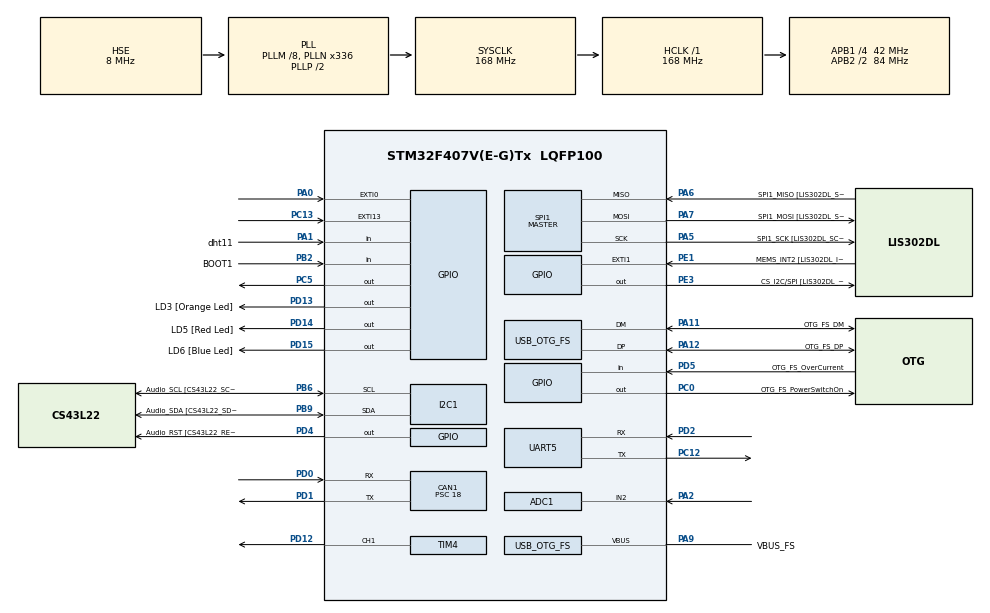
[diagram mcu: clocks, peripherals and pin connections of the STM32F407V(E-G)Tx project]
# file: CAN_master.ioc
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ADC1.Channel-0\#ChannelRegularConversion=ADC_CHANNEL_2
ADC1.NbrOfConversionFlag=1
ADC1.Rank-0\#ChannelRegularConversion=1
ADC1.Resolution=ADC_RESOLUTION_8B
ADC1.SamplingTime-0\#ChannelRegularConversion=ADC_SAMPLETIME_3CYCLES
ADC1.master=1
CAN1.BS1=CAN_BS1_2TQ
CAN1.BS2=CAN_BS2_2TQ
CAN1.CalculateBaudRate=466666
CAN1.CalculateTimeBit=2142
CAN1.CalculateTimeQuantum=428.57142857142856
CAN1.Prescaler=18
Mcu.Family=STM32F4
Mcu.Name=STM32F407V(E-G)Tx
Mcu.Package=LQFP100
NVIC.CAN1_RX0_IRQn=true\:0\:0\:false\:false\:true\:true\:true\:true
NVIC.EXTI0_IRQn=true\:0\:0\:false\:false\:true\:true\:true\:true
NVIC.EXTI15_10_IRQn=true\:0\:0\:false\:false\:true\:true\:true\:true
NVIC.OTG_FS_IRQn=true\:0\:0\:false\:false\:true\:true\:true\:true
NVIC.PriorityGroup=NVIC_PRIORITYGROUP_0
NVIC.TIM4_IRQn=true\:0\:0\:false\:false\:true\:true\:true\:true
NVIC.TIM6_DAC_IRQn=true\:0\:0\:false\:false\:true\:true\:true\:true
PA0-WKUP.Signal=GPXTI0
PA1.GPIO_Label=dht11
PA1.Signal=GPIO_Input
PA10.GPIO_Label=OTG_FS_ID
PA10.GPIO_Mode=GPIO_MODE_AF_PP
PA10.GPIO_PuPd=GPIO_NOPULL
PA10.GPIO_Speed=GPIO_SPEED_FREQ_LOW
PA10.Signal=USB_OTG_FS_ID
PA11.GPIO_Label=OTG_FS_DM
PA11.GPIO_Mode=GPIO_MODE_AF_PP
PA11.GPIO_PuPd=GPIO_NOPULL
PA11.GPIO_Speed=GPIO_SPEED_FREQ_LOW
PA11.Mode=Host_Only
PA11.Signal=USB_OTG_FS_DM
PA12.GPIO_Label=OTG_FS_DP
PA12.GPIO_Mode=GPIO_MODE_AF_PP
PA12.GPIO_PuPd=GPIO_NOPULL
PA12.GPIO_Speed=GPIO_SPEED_FREQ_LOW
PA12.Mode=Host_Only
PA12.Signal=USB_OTG_FS_DP
PA13.GPIO_Label=SWDIO
PA13.Mode=Serial_Wire
PA13.Signal=SYS_JTMS-SWDIO
PA14.GPIO_Label=SWCLK
PA14.Mode=Serial_Wire
PA14.Signal=SYS_JTCK-SWCLK
PA2.Signal=ADCx_IN2
PA4.GPIO_Label=I2S3_WS [CS43L22_LRCK]
PA4.GPIO_Mode=GPIO_MODE_AF_PP
PA4.GPIO_PuPd=GPIO_NOPULL
PA4.GPIO_Speed=GPIO_SPEED_FREQ_LOW
PA4.Signal=I2S3_WS
PA5.GPIO_Label=SPI1_SCK [LIS302DL_SCL/SPC]
PA5.GPIO_Mode=GPIO_MODE_AF_PP
PA5.GPIO_PuPd=GPIO_NOPULL
PA5.GPIO_Speed=GPIO_SPEED_FREQ_LOW
PA5.Mode=Full_Duplex_Master
PA5.Signal=SPI1_SCK
PA6.GPIO_Label=SPI1_MISO [LIS302DL_SDO]
PA6.GPIO_Mode=GPIO_MODE_AF_PP
PA6.GPIO_PuPd=GPIO_NOPULL
PA6.GPIO_Speed=GPIO_SPEED_FREQ_LOW
PA6.Mode=Full_Duplex_Master
PA6.Signal=SPI1_MISO
PA7.GPIO_Label=SPI1_MOSI [LIS302DL_SDA/SDI/SDO]
PA7.GPIO_Mode=GPIO_MODE_AF_PP
PA7.GPIO_PuPd=GPIO_NOPULL
PA7.GPIO_Speed=GPIO_SPEED_FREQ_LOW
PA7.Mode=Full_Duplex_Master
PA7.Signal=SPI1_MOSI
PA9.GPIO_Label=VBUS_FS
PA9.GPIO_Mode=GPIO_MODE_INPUT
PA9.GPIO_PuPd=GPIO_NOPULL
PA9.Mode=Activate_VBUS
PA9.Signal=USB_OTG_FS_VBUS
PB10.GPIO_Label=CLK_IN [MP45DT02_CLK]
PB10.GPIO_Mode=GPIO_MODE_AF_PP
PB10.GPIO_PuPd=GPIO_NOPULL
PB10.GPIO_Speed=GPIO_SPEED_FREQ_LOW
PB10.Signal=I2S2_CK
PB2.GPIO_Label=BOOT1
PB2.GPIO_Mode=GPIO_MODE_INPUT
PB2.GPIO_PuPd=GPIO_NOPULL
PB2.Signal=GPIO_Input
PB3.GPIO_Label=SWO
PB3.Signal=SYS_JTDO-SWO
PB6.GPIO_Label=Audio_SCL [CS43L22_SCL]
PB6.GPIO_Mode=GPIO_MODE_AF_OD
PB6.GPIO_Pu=GPIO_PULLUP
PB6.GPIO_PuPd=GPIO_NOPULL
PB6.GPIO_Speed=GPIO_SPEED_FREQ_LOW
PB6.Mode=I2C
PB6.Signal=I2C1_SCL
PB9.GPIO_Label=Audio_SDA [CS43L22_SDA]
PB9.GPIO_Mode=GPIO_MODE_AF_OD
PB9.GPIO_Pu=GPIO_PULLUP
PB9.GPIO_PuPd=GPIO_NOPULL
PB9.GPIO_Speed=GPIO_SPEED_FREQ_LOW
PB9.Mode=I2C
PB9.Signal=I2C1_SDA
PC0.GPIO_Label=OTG_FS_PowerSwitchOn
PC0.GPIO_PuPd=GPIO_NOPULL
PC0.GPIO_Speed=GPIO_SPEED_FREQ_LOW
PC0.PinState=GPIO_PIN_SET
PC0.Signal=GPIO_Output
PC10.GPIO_Label=I2S3_SCK [CS43L22_SCLK]
PC10.GPIO_Mode=GPIO_MODE_AF_PP
PC10.GPIO_PuPd=GPIO_NOPULL
PC10.GPIO_Speed=GPIO_SPEED_FREQ_LOW
PC10.Signal=I2S3_CK
PC12.Mode=Asynchronous
PC12.Signal=UART5_TX
PC13-ANTI_TAMP.GPIO_ModeDefaultEXTI=GPIO_MODE_IT_RISING
PC13-ANTI_TAMP.Signal=GPXTI13
PC14-OSC32_IN.GPIO_Label=PC14-OSC32_IN
PC14-OSC32_IN.Mode=LSE-External-Oscillator
PC14-OSC32_IN.Signal=RCC_OSC32_IN
PC15-OSC32_OUT.GPIO_Label=PC15-OSC32_OUT
PC15-OSC32_OUT.Mode=LSE-External-Oscillator
PC15-OSC32_OUT.Signal=RCC_OSC32_OUT
PC3.GPIO_Label=PDM_OUT [MP45DT02_DOUT]
PC3.GPIO_Mode=GPIO_MODE_AF_PP
PC3.GPIO_PuPd=GPIO_NOPULL
PC3.GPIO_Speed=GPIO_SPEED_FREQ_LOW
PC3.Signal=I2S2_SD
PC5.PinState=GPIO_PIN_RESET
PC5.Signal=GPIO_Output
PC7.GPIO_Label=I2S3_MCK [CS43L22_MCLK]
PC7.GPIO_Mode=GPIO_MODE_AF_PP
PC7.GPIO_PuPd=GPIO_NOPULL
PC7.GPIO_Speed=GPIO_SPEED_FREQ_LOW
PC7.Signal=I2S3_MCK
PD0.GPIO_PuPd=GPIO_PULLUP
PD0.Mode=CAN_Activate
PD0.Signal=CAN1_RX
PD1.Mode=CAN_Activate
PD1.Signal=CAN1_TX
PD12.Signal=S_TIM4_CH1
PD13.GPIO_Label=LD3 [Orange Led]
PD13.GPIO_PuPd=GPIO_NOPULL
PD13.GPIO_Speed=GPIO_SPEED_FREQ_LOW
PD13.Signal=GPIO_Output
PD14.GPIO_Label=LD5 [Red Led]
PD14.GPIO_PuPd=GPIO_NOPULL
PD14.GPIO_Speed=GPIO_SPEED_FREQ_LOW
PD14.Signal=GPIO_Output
PD15.GPIO_Label=LD6 [Blue Led]
PD15.GPIO_PuPd=GPIO_NOPULL
PD15.GPIO_Speed=GPIO_SPEED_FREQ_LOW
PD15.Signal=GPIO_Output
PD2.Mode=Asynchronous
PD2.Signal=UART5_RX
PD4.GPIO_Label=Audio_RST [CS43L22_RESET]
PD4.GPIO_PuPd=GPIO_NOPULL
PD4.GPIO_Speed=GPIO_SPEED_FREQ_LOW
PD4.Signal=GPIO_Output
PD5.GPIO_Label=OTG_FS_OverCurrent
PD5.GPIO_Mode=GPIO_MODE_INPUT
PD5.GPIO_PuPd=GPIO_NOPULL
PD5.Signal=GPIO_Input
PE1.GPIO_Label=MEMS_INT2 [LIS302DL_INT2]
PE1.GPIO_ModeDefaultEXTI=GPIO_MODE_EVT_RISING
PE1.GPIO_PuPd=GPIO_NOPULL
PE1.Signal=GPXTI1
PE3.GPIO_Label=CS_I2C/SPI [LIS302DL_CS_I2C/SPI]
PE3.GPIO_PuPd=GPIO_NOPULL
PE3.GPIO_Speed=GPIO_SPEED_FREQ_LOW
PE3.Signal=GPIO_Output
PH0-OSC_IN.GPIO_Label=PH0-OSC_IN
PH0-OSC_IN.Mode=HSE-External-Oscillator
PH0-OSC_IN.Signal=RCC_OSC_IN
PH1-OSC_OUT.GPIO_Label=PH1-OSC_OUT
PH1-OSC_OUT.Mode=HSE-External-Oscillator
PH1-OSC_OUT.Signal=RCC_OSC_OUT
ProjectManager.HeapSize=0x200
ProjectManager.StackSize=0x400
ProjectManager.TargetToolchain=STM32CubeIDE
RCC.48MHZClocksFreq_Value=48000000
RCC.AHBFreq_Value=168000000
RCC.APB1CLKDivider=RCC_HCLK_DIV4
RCC.APB1Freq_Value=42000000
RCC.APB1TimFreq_Value=84000000
RCC.APB2CLKDivider=RCC_HCLK_DIV2
RCC.APB2Freq_Value=84000000
RCC.APB2TimFreq_Value=168000000
RCC.CortexFreq_Value=168000000
RCC.HCLKFreq_Value=168000000
RCC.HSE_VALUE=8000000
RCC.HSI_VALUE=16000000
RCC.PLLM=8
RCC.PLLN=336
RCC.PLLQ=7
RCC.SYSCLKFreq_VALUE=168000000
RCC.SYSCLKSource=RCC_SYSCLKSOURCE_PLLCLK
RCC.VCOOutputFreq_Value=336000000
SH.ADCx_IN2.0=ADC1_IN2,IN2
SH.S_TIM4_CH1.0=TIM4_CH1,PWM Generation1 CH1
SPI1.BaudRatePrescaler-Full_Duplex_Master=SPI_BAUDRATEPRESCALER_2
SPI1.CalculateBaudRate-Full_Duplex_Master=42.0 MBits/s
SPI1.Direction=SPI_DIRECTION_2LINES
SPI1.Mode=SPI_MODE_MASTER
SPI1.Mode-Full_Duplex_Master=SPI_MODE_MASTER
SPI1.VirtualType=VM_MASTER
TIM4.Channel-PWM\ Generation1\ CH1=TIM_CHANNEL_1
TIM4.Period=255
TIM4.Prescaler=328
TIM6.Period=20000
TIM6.Prescaler=8400
UART5.VirtualMode=Asynchronous
USB_HOST.BSP.number=1
USB_HOST.USBH_HandleTypeDef-CDC_FS=hUsbHostFS
USB_HOST.VirtualModeFS=Cdc
USB_HOST0.BSP.STBoard=false
USB_HOST0.BSP.api=Unknown
USB_HOST0.BSP.instance=PC0
USB_HOST0.BSP.ip=GPIO
USB_HOST0.BSP.mode=Output
USB_HOST0.BSP.name=Drive_VBUS_FS
USB_HOST0.BSP.solution=PC0
USB_OTG_FS.VirtualMode=Host_Only
USB_OTG_FS.phy_itface=HCD_PHY_EMBEDDED
VP_TIM4_VS_ClockSourceINT.Mode=Internal
VP_TIM6_VS_ClockSourceINT.Mode=Enable_Timer
VP_USB_HOST_VS_USB_HOST_CDC_FS.Mode=CDC_FS
board=STM32F407G-DISC1

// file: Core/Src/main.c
/* USER CODE BEGIN Header */
/**
  ******************************************************************************
  * @file           : main.c
  * @brief          : Main program body
  ******************************************************************************
  * @attention
  *
  * Copyright (c) 2023 STMicroelectronics.
  * All rights reserved.
  *
  * This software is licensed under terms that can be found in the LICENSE file
  * in the root directory of this software component.
  * If no LICENSE file comes with this software, it is provided AS-IS.
  *
  ******************************************************************************
  */
/* USER CODE END Header */
#include "main.h"
#include "usb_host.h"

/* USER CODE BEGIN Includes */
#include <stdio.h>
#include "DHT.h"
/* USER CODE END Includes */

/* USER CODE BEGIN PD */

	DHT_DataTypedef DHT11_Data;
	float Temperature, Humidity;
	float digital_value;

	char temp[30]; // value of temperature
	char humi[30]; // value of humidity
	char adc[30]; // digital

/* USER CODE END PD */

ADC_HandleTypeDef hadc1;

CAN_HandleTypeDef hcan1;

I2C_HandleTypeDef hi2c1;

SPI_HandleTypeDef hspi1;

TIM_HandleTypeDef htim4;
TIM_HandleTypeDef htim6;

UART_HandleTypeDef huart5;

void SystemClock_Config(void);
static void MX_GPIO_Init(void);
static void MX_I2C1_Init(void);
static void MX_SPI1_Init(void);
static void MX_CAN1_Init(void);
static void MX_TIM4_Init(void);
static void MX_TIM6_Init(void);
static void MX_UART5_Init(void);
static void MX_ADC1_Init(void);
void MX_USB_HOST_Process(void);

/* USER CODE BEGIN 0 */
	CAN_TxHeaderTypeDef TxHeader;
	CAN_RxHeaderTypeDef RxHeader;

	uint8_t TxData[8];
	uint8_t RxData[8];

	uint32_t TxMailbox;

	int datacheck = 0;
	void HAL_GPIO_EXTI_Callback(uint16_t GPIO_Pin)
	{
		if (GPIO_Pin == GPIO_PIN_0)
		{
			TxData[0] = 200;   // Delay (ms)
			TxData[1] = 20;    // Numbers of Loop
			TxData[2] = 0;
			TxData[3] = 0;

			HAL_GPIO_TogglePin(GPIOD, GPIO_PIN_12); // Green led

			if(HAL_CAN_AddTxMessage(&hcan1, &TxHeader, TxData, &TxMailbox)!= HAL_OK)// add
			{
				Error_Handler();

			}
		}
	}

	void HAL_CAN_RxFifo0MsgPendingCallback(CAN_HandleTypeDef *hcan) {
		if(HAL_CAN_GetRxMessage(hcan, CAN_RX_FIFO0, &RxHeader, RxData) != HAL_OK)//add
		{
			Error_Handler();
		}

		//if (RxHeader.DLC == 2)
		if (RxHeader.StdId== 0x103)
		{
			datacheck = 1;
		}

	}
/* USER CODE END 0 */

int main(void)
{

  /* MCU Configuration--------------------------------------------------------*/

  /* Reset of all peripherals, Initializes the Flash interface and the Systick. */
  HAL_Init();

  /* Configure the system clock */
  SystemClock_Config();

  /* Initialize all configured peripherals */
  MX_GPIO_Init();
  MX_I2C1_Init();
  MX_SPI1_Init();
  MX_USB_HOST_Init();
  MX_CAN1_Init();
  MX_TIM4_Init();
  MX_TIM6_Init();
  MX_UART5_Init();
  MX_ADC1_Init();
  /* USER CODE BEGIN 2 */

  HAL_CAN_Start(&hcan1);
  HAL_TIM_PWM_Start(&htim4, TIM_CHANNEL_1);
  HAL_TIM_Base_Start_IT(&htim6);

  // Active the notification
  HAL_CAN_ActivateNotification(&hcan1, CAN_IT_RX_FIFO0_MSG_PENDING);

	TxHeader.DLC = 4;  // data length
	TxHeader.IDE = CAN_ID_STD;
	TxHeader.RTR = CAN_RTR_DATA;
	TxHeader.StdId = 0x446;  // Id of framework

  /* USER CODE END 2 */

  /* Infinite loop */
  while (1)
  {
    MX_USB_HOST_Process();

    /* USER CODE BEGIN 3 */

    // ADC
   	  HAL_ADC_Start(&hadc1);
   	  if(HAL_ADC_PollForConversion(&hadc1, 10)==HAL_OK)
   	  {
   		  digital_value = HAL_ADC_GetValue(&hadc1);
   	   	  // Warning if threshold is exceeded
   	   	  if (digital_value>=200)
   	   	  {
   	   		  HAL_GPIO_WritePin(GPIOD, GPIO_PIN_14, 1); // Red led On
   	   	  }
   	   	  else HAL_GPIO_WritePin(GPIOD, GPIO_PIN_14, 0); // Red led off
   	  }
   	  HAL_ADC_Stop(&hadc1);

//		  read DHT11
//   	  DHT_GetData(&DHT11_Data);
//   	  Temperature = DHT11_Data.Temperature;
//   	  Humidity = DHT11_Data.Humidity;

   	  // PWM through timer channel 1
   	  __HAL_TIM_SetCompare(&htim4,TIM_CHANNEL_1,digital_value);

	  	// uint8t to char
	  	sprintf(temp, "Value of Temperature = %.2f\r\n", Temperature);
	  	sprintf(humi, "Value of Humidity = %.2f\r\n", Humidity);
	  	sprintf(adc, "Value of Digital = %.2f\r\n\n", digital_value);

	  	// Send Uart
		HAL_UART_Transmit(&huart5, temp , strlen(temp) , HAL_MAX_DELAY);
		HAL_UART_Transmit(&huart5, humi , strlen(humi) , HAL_MAX_DELAY);
		HAL_UART_Transmit(&huart5, adc , strlen(adc) , HAL_MAX_DELAY);
		HAL_Delay(1000);

    // blink the LED and send data
    if(datacheck)
    {
    	for (int i = 0; i < RxData[1]; i++) {
    		HAL_GPIO_TogglePin(GPIOD, GPIO_PIN_14); // led red
    		HAL_Delay(RxData[0]);
    	}
    	datacheck = 0;

    	TxData[0] = 200;   // Delay (ms)
    	TxData[1] = 20;    // Numbers of Loop
    	TxData[2] = (uint8_t*)(&Temperature); // value of Temperature
    	TxData[3] = (uint8_t*)(&Humidity); // value of Humidity

    	if(HAL_CAN_AddTxMessage(&hcan1, &TxHeader, TxData, &TxMailbox) != HAL_OK){ //add
			Error_Handler();
		}
    }
  }
  /* USER CODE END 3 */
}

void TIM6_DAC_IRQHandler(void)
{
  /* USER CODE BEGIN TIM6_DAC_IRQn 0 */
////
  /* USER CODE END TIM6_DAC_IRQn 0 */
  HAL_TIM_IRQHandler(&htim6);
  /* USER CODE BEGIN TIM6_DAC_IRQn 1 */
	  // Read DHT11
	  DHT_GetData(&DHT11_Data);
	  Temperature = DHT11_Data.Temperature;
	  Humidity = DHT11_Data.Humidity;
  /* USER CODE END TIM6_DAC_IRQn 1 */
}

void SystemClock_Config(void)
{
  RCC_OscInitTypeDef RCC_OscInitStruct = {0};
  RCC_ClkInitTypeDef RCC_ClkInitStruct = {0};

  /** Configure the main internal regulator output voltage
  */
  __HAL_RCC_PWR_CLK_ENABLE();
  __HAL_PWR_VOLTAGESCALING_CONFIG(PWR_REGULATOR_VOLTAGE_SCALE1);

  /** Initializes the RCC Oscillators according to the specified parameters
  * in the RCC_OscInitTypeDef structure.
  */
  RCC_OscInitStruct.OscillatorType = RCC_OSCILLATORTYPE_HSE;
  RCC_OscInitStruct.HSEState = RCC_HSE_ON;
  RCC_OscInitStruct.PLL.PLLState = RCC_PLL_ON;
  RCC_OscInitStruct.PLL.PLLSource = RCC_PLLSOURCE_HSE;
  RCC_OscInitStruct.PLL.PLLM = 8;
  RCC_OscInitStruct.PLL.PLLN = 336;
  RCC_OscInitStruct.PLL.PLLP = RCC_PLLP_DIV2;
  RCC_OscInitStruct.PLL.PLLQ = 7;
  if (HAL_RCC_OscConfig(&RCC_OscInitStruct) != HAL_OK)
  {
    Error_Handler();
  }

  /** Initializes the CPU, AHB and APB buses clocks
  */
  RCC_ClkInitStruct.ClockType = RCC_CLOCKTYPE_HCLK|RCC_CLOCKTYPE_SYSCLK
                              |RCC_CLOCKTYPE_PCLK1|RCC_CLOCKTYPE_PCLK2;
  RCC_ClkInitStruct.SYSCLKSource = RCC_SYSCLKSOURCE_PLLCLK;
  RCC_ClkInitStruct.AHBCLKDivider = RCC_SYSCLK_DIV1;
  RCC_ClkInitStruct.APB1CLKDivider = RCC_HCLK_DIV4;
  RCC_ClkInitStruct.APB2CLKDivider = RCC_HCLK_DIV2;

  if (HAL_RCC_ClockConfig(&RCC_ClkInitStruct, FLASH_LATENCY_5) != HAL_OK)
  {
    Error_Handler();
  }
}

static void MX_ADC1_Init(void)
{

  ADC_ChannelConfTypeDef sConfig = {0};

  /** Configure the global features of the ADC (Clock, Resolution, Data Alignment and number of conversion)
  */
  hadc1.Instance = ADC1;
  hadc1.Init.ClockPrescaler = ADC_CLOCK_SYNC_PCLK_DIV4;
  hadc1.Init.Resolution = ADC_RESOLUTION_8B;
  hadc1.Init.ScanConvMode = DISABLE;
  hadc1.Init.ContinuousConvMode = DISABLE;
  hadc1.Init.DiscontinuousConvMode = DISABLE;
  hadc1.Init.ExternalTrigConvEdge = ADC_EXTERNALTRIGCONVEDGE_NONE;
  hadc1.Init.ExternalTrigConv = ADC_SOFTWARE_START;
  hadc1.Init.DataAlign = ADC_DATAALIGN_RIGHT;
  hadc1.Init.NbrOfConversion = 1;
  hadc1.Init.DMAContinuousRequests = DISABLE;
  hadc1.Init.EOCSelection = ADC_EOC_SINGLE_CONV;
  if (HAL_ADC_Init(&hadc1) != HAL_OK)
  {
    Error_Handler();
  }

  /** Configure for the selected ADC regular channel its corresponding rank in the sequencer and its sample time.
  */
  sConfig.Channel = ADC_CHANNEL_2;
  sConfig.Rank = 1;
  sConfig.SamplingTime = ADC_SAMPLETIME_3CYCLES;
  if (HAL_ADC_ConfigChannel(&hadc1, &sConfig) != HAL_OK)
  {
    Error_Handler();
  }

}

static void MX_CAN1_Init(void)
{

  hcan1.Instance = CAN1;
  hcan1.Init.Prescaler = 18;
  hcan1.Init.Mode = CAN_MODE_NORMAL;
  hcan1.Init.SyncJumpWidth = CAN_SJW_1TQ;
  hcan1.Init.TimeSeg1 = CAN_BS1_2TQ;
  hcan1.Init.TimeSeg2 = CAN_BS2_2TQ;
  hcan1.Init.TimeTriggeredMode = DISABLE;
  hcan1.Init.AutoBusOff = DISABLE;
  hcan1.Init.AutoWakeUp = DISABLE;
  hcan1.Init.AutoRetransmission = DISABLE;
  hcan1.Init.ReceiveFifoLocked = DISABLE;
  hcan1.Init.TransmitFifoPriority = DISABLE;
  if (HAL_CAN_Init(&hcan1) != HAL_OK)
  {
    Error_Handler();
  }
  /* USER CODE BEGIN CAN1_Init 2 */

  CAN_FilterTypeDef canfilterconfig;

  	canfilterconfig.FilterActivation = CAN_FILTER_ENABLE;
  	canfilterconfig.FilterBank = 18; // which filter bank to use from the assigned ones
  	canfilterconfig.FilterFIFOAssignment = CAN_FILTER_FIFO0;
  	canfilterconfig.FilterIdHigh = 0x103 << 5;
  	canfilterconfig.FilterIdLow = 0;
  	canfilterconfig.FilterMaskIdHigh = 0x103 << 5;
  	canfilterconfig.FilterMaskIdLow = 0x0000;
  	canfilterconfig.FilterMode = CAN_FILTERMODE_IDMASK;
  	canfilterconfig.FilterScale = CAN_FILTERSCALE_32BIT;
  	canfilterconfig.SlaveStartFilterBank = 20; // how many filters to assign to the CAN1 (master can)

  	HAL_CAN_ConfigFilter(&hcan1, &canfilterconfig);
  /* USER CODE END CAN1_Init 2 */

}

static void MX_I2C1_Init(void)
{

  hi2c1.Instance = I2C1;
  hi2c1.Init.ClockSpeed = 100000;
  hi2c1.Init.DutyCycle = I2C_DUTYCYCLE_2;
  hi2c1.Init.OwnAddress1 = 0;
  hi2c1.Init.AddressingMode = I2C_ADDRESSINGMODE_7BIT;
  hi2c1.Init.DualAddressMode = I2C_DUALADDRESS_DISABLE;
  hi2c1.Init.OwnAddress2 = 0;
  hi2c1.Init.GeneralCallMode = I2C_GENERALCALL_DISABLE;
  hi2c1.Init.NoStretchMode = I2C_NOSTRETCH_DISABLE;
  if (HAL_I2C_Init(&hi2c1) != HAL_OK)
  {
    Error_Handler();
  }

}

static void MX_SPI1_Init(void)
{

  /* SPI1 parameter configuration*/
  hspi1.Instance = SPI1;
  hspi1.Init.Mode = SPI_MODE_MASTER;
  hspi1.Init.Direction = SPI_DIRECTION_2LINES;
  hspi1.Init.DataSize = SPI_DATASIZE_8BIT;
  hspi1.Init.CLKPolarity = SPI_POLARITY_LOW;
  hspi1.Init.CLKPhase = SPI_PHASE_1EDGE;
  hspi1.Init.NSS = SPI_NSS_SOFT;
  hspi1.Init.BaudRatePrescaler = SPI_BAUDRATEPRESCALER_2;
  hspi1.Init.FirstBit = SPI_FIRSTBIT_MSB;
  hspi1.Init.TIMode = SPI_TIMODE_DISABLE;
  hspi1.Init.CRCCalculation = SPI_CRCCALCULATION_DISABLE;
  hspi1.Init.CRCPolynomial = 10;
  if (HAL_SPI_Init(&hspi1) != HAL_OK)
  {
    Error_Handler();
  }

}

static void MX_TIM4_Init(void)
{

  TIM_ClockConfigTypeDef sClockSourceConfig = {0};
  TIM_MasterConfigTypeDef sMasterConfig = {0};
  TIM_OC_InitTypeDef sConfigOC = {0};

  htim4.Instance = TIM4;
  htim4.Init.Prescaler = 328;
  htim4.Init.CounterMode = TIM_COUNTERMODE_UP;
  htim4.Init.Period = 255;
  htim4.Init.ClockDivision = TIM_CLOCKDIVISION_DIV1;
  htim4.Init.AutoReloadPreload = TIM_AUTORELOAD_PRELOAD_DISABLE;
  if (HAL_TIM_Base_Init(&htim4) != HAL_OK)
  {
    Error_Handler();
  }
  sClockSourceConfig.ClockSource = TIM_CLOCKSOURCE_INTERNAL;
  if (HAL_TIM_ConfigClockSource(&htim4, &sClockSourceConfig) != HAL_OK)
  {
    Error_Handler();
  }
  if (HAL_TIM_PWM_Init(&htim4) != HAL_OK)
  {
    Error_Handler();
  }
  sMasterConfig.MasterOutputTrigger = TIM_TRGO_RESET;
  sMasterConfig.MasterSlaveMode = TIM_MASTERSLAVEMODE_DISABLE;
  if (HAL_TIMEx_MasterConfigSynchronization(&htim4, &sMasterConfig) != HAL_OK)
  {
    Error_Handler();
  }
  sConfigOC.OCMode = TIM_OCMODE_PWM1;
  sConfigOC.Pulse = 0;
  sConfigOC.OCPolarity = TIM_OCPOLARITY_HIGH;
  sConfigOC.OCFastMode = TIM_OCFAST_DISABLE;
  if (HAL_TIM_PWM_ConfigChannel(&htim4, &sConfigOC, TIM_CHANNEL_1) != HAL_OK)
  {
    Error_Handler();
  }
  HAL_TIM_MspPostInit(&htim4);

}

static void MX_TIM6_Init(void)
{

  TIM_MasterConfigTypeDef sMasterConfig = {0};

  htim6.Instance = TIM6;
  htim6.Init.Prescaler = 8400;
  htim6.Init.CounterMode = TIM_COUNTERMODE_UP;
  htim6.Init.Period = 20000;
  htim6.Init.AutoReloadPreload = TIM_AUTORELOAD_PRELOAD_DISABLE;
  if (HAL_TIM_Base_Init(&htim6) != HAL_OK)
  {
    Error_Handler();
  }
  sMasterConfig.MasterOutputTrigger = TIM_TRGO_RESET;
  sMasterConfig.MasterSlaveMode = TIM_MASTERSLAVEMODE_DISABLE;
  if (HAL_TIMEx_MasterConfigSynchronization(&htim6, &sMasterConfig) != HAL_OK)
  {
    Error_Handler();
  }

}

static void MX_UART5_Init(void)
{

  huart5.Instance = UART5;
  huart5.Init.BaudRate = 115200;
  huart5.Init.WordLength = UART_WORDLENGTH_8B;
  huart5.Init.StopBits = UART_STOPBITS_1;
  huart5.Init.Parity = UART_PARITY_NONE;
  huart5.Init.Mode = UART_MODE_TX_RX;
  huart5.Init.HwFlowCtl = UART_HWCONTROL_NONE;
  huart5.Init.OverSampling = UART_OVERSAMPLING_16;
  if (HAL_UART_Init(&huart5) != HAL_OK)
  {
    Error_Handler();
  }

}

static void MX_GPIO_Init(void)
{
  GPIO_InitTypeDef GPIO_InitStruct = {0};

  /* GPIO Ports Clock Enable */
  __HAL_RCC_GPIOE_CLK_ENABLE();
  __HAL_RCC_GPIOC_CLK_ENABLE();
  __HAL_RCC_GPIOH_CLK_ENABLE();
  __HAL_RCC_GPIOA_CLK_ENABLE();
  __HAL_RCC_GPIOB_CLK_ENABLE();
  __HAL_RCC_GPIOD_CLK_ENABLE();

  /*Configure GPIO pin Output Level */
  HAL_GPIO_WritePin(CS_I2C_SPI_GPIO_Port, CS_I2C_SPI_Pin, GPIO_PIN_RESET);

  /*Configure GPIO pin Output Level */
  HAL_GPIO_WritePin(OTG_FS_PowerSwitchOn_GPIO_Port, OTG_FS_PowerSwitchOn_Pin, GPIO_PIN_SET);

  /*Configure GPIO pin Output Level */
  HAL_GPIO_WritePin(GPIOC, GPIO_PIN_5, GPIO_PIN_RESET);

  /*Configure GPIO pin Output Level */
  HAL_GPIO_WritePin(GPIOD, LD3_Pin|LD5_Pin|LD6_Pin|Audio_RST_Pin, GPIO_PIN_RESET);

  /*Configure GPIO pin : CS_I2C_SPI_Pin */
  GPIO_InitStruct.Pin = CS_I2C_SPI_Pin;
  GPIO_InitStruct.Mode = GPIO_MODE_OUTPUT_PP;
  GPIO_InitStruct.Pull = GPIO_NOPULL;
  GPIO_InitStruct.Speed = GPIO_SPEED_FREQ_LOW;
  HAL_GPIO_Init(CS_I2C_SPI_GPIO_Port, &GPIO_InitStruct);

  /*Configure GPIO pin : PC13 */
  GPIO_InitStruct.Pin = GPIO_PIN_13;
  GPIO_InitStruct.Mode = GPIO_MODE_IT_RISING;
  GPIO_InitStruct.Pull = GPIO_NOPULL;
  HAL_GPIO_Init(GPIOC, &GPIO_InitStruct);

  /*Configure GPIO pins : OTG_FS_PowerSwitchOn_Pin PC5 */
  GPIO_InitStruct.Pin = OTG_FS_PowerSwitchOn_Pin|GPIO_PIN_5;
  GPIO_InitStruct.Mode = GPIO_MODE_OUTPUT_PP;
  GPIO_InitStruct.Pull = GPIO_NOPULL;
  GPIO_InitStruct.Speed = GPIO_SPEED_FREQ_LOW;
  HAL_GPIO_Init(GPIOC, &GPIO_InitStruct);

  /*Configure GPIO pin : PDM_OUT_Pin */
  GPIO_InitStruct.Pin = PDM_OUT_Pin;
  GPIO_InitStruct.Mode = GPIO_MODE_AF_PP;
  GPIO_InitStruct.Pull = GPIO_NOPULL;
  GPIO_InitStruct.Speed = GPIO_SPEED_FREQ_LOW;
  GPIO_InitStruct.Alternate = GPIO_AF5_SPI2;
  HAL_GPIO_Init(PDM_OUT_GPIO_Port, &GPIO_InitStruct);

  /*Configure GPIO pin : PA0 */
  GPIO_InitStruct.Pin = GPIO_PIN_0;
  GPIO_InitStruct.Mode = GPIO_MODE_IT_RISING;
  GPIO_InitStruct.Pull = GPIO_NOPULL;
  HAL_GPIO_Init(GPIOA, &GPIO_InitStruct);

  /*Configure GPIO pin : dht11_Pin */
  GPIO_InitStruct.Pin = dht11_Pin;
  GPIO_InitStruct.Mode = GPIO_MODE_INPUT;
  GPIO_InitStruct.Pull = GPIO_NOPULL;
  HAL_GPIO_Init(dht11_GPIO_Port, &GPIO_InitStruct);

  /*Configure GPIO pin : I2S3_WS_Pin */
  GPIO_InitStruct.Pin = I2S3_WS_Pin;
  GPIO_InitStruct.Mode = GPIO_MODE_AF_PP;
  GPIO_InitStruct.Pull = GPIO_NOPULL;
  GPIO_InitStruct.Speed = GPIO_SPEED_FREQ_LOW;
  GPIO_InitStruct.Alternate = GPIO_AF6_SPI3;
  HAL_GPIO_Init(I2S3_WS_GPIO_Port, &GPIO_InitStruct);

  /*Configure GPIO pin : BOOT1_Pin */
  GPIO_InitStruct.Pin = BOOT1_Pin;
  GPIO_InitStruct.Mode = GPIO_MODE_INPUT;
  GPIO_InitStruct.Pull = GPIO_NOPULL;
  HAL_GPIO_Init(BOOT1_GPIO_Port, &GPIO_InitStruct);

  /*Configure GPIO pin : CLK_IN_Pin */
  GPIO_InitStruct.Pin = CLK_IN_Pin;
  GPIO_InitStruct.Mode = GPIO_MODE_AF_PP;
  GPIO_InitStruct.Pull = GPIO_NOPULL;
  GPIO_InitStruct.Speed = GPIO_SPEED_FREQ_LOW;
  GPIO_InitStruct.Alternate = GPIO_AF5_SPI2;
  HAL_GPIO_Init(CLK_IN_GPIO_Port, &GPIO_InitStruct);

  /*Configure GPIO pins : LD3_Pin LD5_Pin LD6_Pin Audio_RST_Pin */
  GPIO_InitStruct.Pin = LD3_Pin|LD5_Pin|LD6_Pin|Audio_RST_Pin;
  GPIO_InitStruct.Mode = GPIO_MODE_OUTPUT_PP;
  GPIO_InitStruct.Pull = GPIO_NOPULL;
  GPIO_InitStruct.Speed = GPIO_SPEED_FREQ_LOW;
  HAL_GPIO_Init(GPIOD, &GPIO_InitStruct);

  /*Configure GPIO pins : I2S3_MCK_Pin I2S3_SCK_Pin */
  GPIO_InitStruct.Pin = I2S3_MCK_Pin|I2S3_SCK_Pin;
  GPIO_InitStruct.Mode = GPIO_MODE_AF_PP;
  GPIO_InitStruct.Pull = GPIO_NOPULL;
  GPIO_InitStruct.Speed = GPIO_SPEED_FREQ_LOW;
  GPIO_InitStruct.Alternate = GPIO_AF6_SPI3;
  HAL_GPIO_Init(GPIOC, &GPIO_InitStruct);

  /*Configure GPIO pin : OTG_FS_OverCurrent_Pin */
  GPIO_InitStruct.Pin = OTG_FS_OverCurrent_Pin;
  GPIO_InitStruct.Mode = GPIO_MODE_INPUT;
  GPIO_InitStruct.Pull = GPIO_NOPULL;
  HAL_GPIO_Init(OTG_FS_OverCurrent_GPIO_Port, &GPIO_InitStruct);

  /*Configure GPIO pin : MEMS_INT2_Pin */
  GPIO_InitStruct.Pin = MEMS_INT2_Pin;
  GPIO_InitStruct.Mode = GPIO_MODE_EVT_RISING;
  GPIO_InitStruct.Pull = GPIO_NOPULL;
  HAL_GPIO_Init(MEMS_INT2_GPIO_Port, &GPIO_InitStruct);

  /* EXTI interrupt init*/
  HAL_NVIC_SetPriority(EXTI0_IRQn, 0, 0);
  HAL_NVIC_EnableIRQ(EXTI0_IRQn);

  HAL_NVIC_SetPriority(EXTI15_10_IRQn, 0, 0);
  HAL_NVIC_EnableIRQ(EXTI15_10_IRQn);

}

void Error_Handler(void)
{
  __disable_irq();
  while (1)
  {
  }
}
